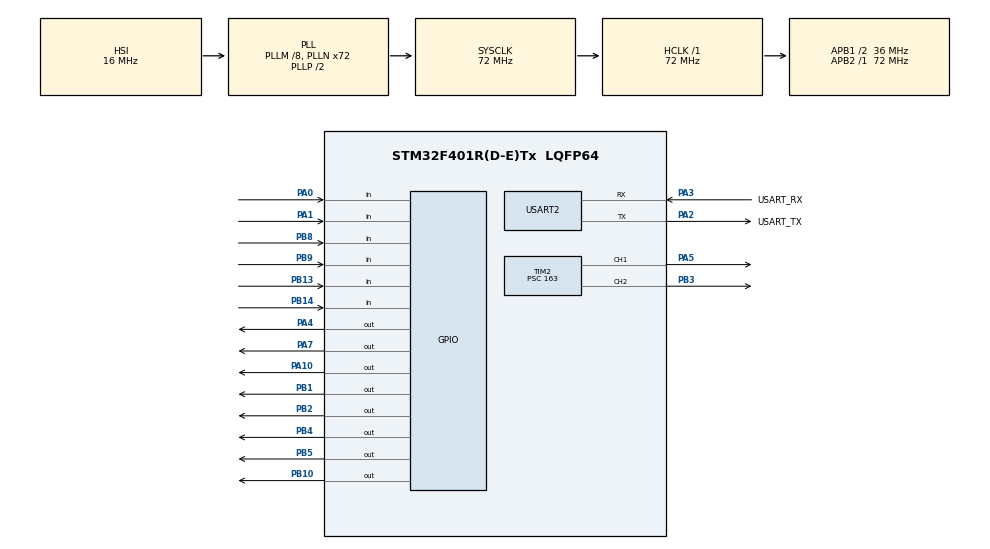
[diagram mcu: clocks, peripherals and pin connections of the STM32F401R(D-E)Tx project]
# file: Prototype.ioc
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Mcu.Family=STM32F4
Mcu.Name=STM32F401R(D-E)Tx
Mcu.Package=LQFP64
NVIC.PriorityGroup=NVIC_PRIORITYGROUP_0
PA0-WKUP.Signal=GPIO_Input
PA1.Signal=GPIO_Input
PA10.Signal=GPIO_Output
PA13.Mode=Serial_Wire
PA13.Signal=SYS_JTMS-SWDIO
PA14.Mode=Serial_Wire
PA14.Signal=SYS_JTCK-SWCLK
PA2.GPIO_Label=USART_TX
PA2.GPIO_Mode=GPIO_MODE_AF_PP
PA2.GPIO_PuPd=GPIO_NOPULL
PA2.GPIO_Speed=GPIO_SPEED_FREQ_LOW
PA2.Mode=Asynchronous
PA2.Signal=USART2_TX
PA3.GPIO_Label=USART_RX
PA3.GPIO_Mode=GPIO_MODE_AF_PP
PA3.GPIO_PuPd=GPIO_NOPULL
PA3.GPIO_Speed=GPIO_SPEED_FREQ_LOW
PA3.Mode=Asynchronous
PA3.Signal=USART2_RX
PA4.Signal=GPIO_Output
PA5.Signal=S_TIM2_CH1_ETR
PA7.Signal=GPIO_Output
PB1.Signal=GPIO_Output
PB10.Signal=GPIO_Output
PB13.GPIO_PuPd=GPIO_PULLDOWN
PB13.Signal=GPIO_Input
PB14.GPIO_PuPd=GPIO_PULLDOWN
PB14.Signal=GPIO_Input
PB2.Signal=GPIO_Output
PB3.Signal=S_TIM2_CH2
PB4.Signal=GPIO_Output
PB5.Signal=GPIO_Output
PB8.Signal=GPIO_Input
PB9.Signal=GPIO_Input
PH0\ -\ OSC_IN.Mode=HSE-External-Oscillator
PH0\ -\ OSC_IN.Signal=RCC_OSC_IN
PH1\ -\ OSC_OUT.Mode=HSE-External-Oscillator
PH1\ -\ OSC_OUT.Signal=RCC_OSC_OUT
ProjectManager.HeapSize=0x200
ProjectManager.StackSize=0x400
ProjectManager.TargetToolchain=STM32CubeIDE
RCC.48MHZClocksFreq_Value=20571428.57142857
RCC.AHBFreq_Value=72000000
RCC.APB1CLKDivider=RCC_HCLK_DIV2
RCC.APB1Freq_Value=36000000
RCC.APB1TimFreq_Value=72000000
RCC.APB2Freq_Value=72000000
RCC.APB2TimFreq_Value=72000000
RCC.CortexFreq_Value=72000000
RCC.HCLKFreq_Value=72000000
RCC.HSE_VALUE=8000000
RCC.HSI_VALUE=16000000
RCC.LSE_VALUE=32768
RCC.PLLM=8
RCC.PLLN=72
RCC.PLLQ=7
RCC.SYSCLKFreq_VALUE=72000000
RCC.SYSCLKSource=RCC_SYSCLKSOURCE_PLLCLK
RCC.VCOOutputFreq_Value=144000000
SH.S_TIM2_CH1_ETR.0=TIM2_CH1,PWM Generation1 CH1
SH.S_TIM2_CH2.0=TIM2_CH2,PWM Generation2 CH2
TIM1.Prescaler=71
TIM2.Channel-PWM\ Generation1\ CH1=TIM_CHANNEL_1
TIM2.Channel-PWM\ Generation2\ CH2=TIM_CHANNEL_2
TIM2.Period=9999
TIM2.Prescaler=163
USART2.VirtualMode=VM_ASYNC
VP_TIM1_VS_ClockSourceINT.Mode=Internal
VP_TIM2_VS_ClockSourceINT.Mode=Internal
board=NUCLEO-F401RE

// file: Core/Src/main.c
/* USER CODE BEGIN Header */
/**
  ******************************************************************************
  * @file           : main.c
  * @brief          : Main program body
  ******************************************************************************
  * @attention
  *
  * Copyright (c) 2022 STMicroelectronics.
  * All rights reserved.
  *
  * This software is licensed under terms that can be found in the LICENSE file
  * in the root directory of this software component.
  * If no LICENSE file comes with this software, it is provided AS-IS.
  *
  ******************************************************************************
  */
/* USER CODE END Header */
#include "main.h"

TIM_HandleTypeDef htim1;
TIM_HandleTypeDef htim2;

UART_HandleTypeDef huart2;

/* USER CODE BEGIN PV */
#define TRIG_PIN1 GPIO_PIN_10
#define TRIG_PORT1 GPIOB
#define ECHO_PIN1 GPIO_PIN_1
#define ECHO_PORT1 GPIOA

#define TRIG_PIN2 GPIO_PIN_4
#define TRIG_PORT2 GPIOB
#define ECHO_PIN2 GPIO_PIN_0
#define ECHO_PORT2 GPIOA

uint32_t pMillis1;
uint32_t Value11 = 0;
uint32_t Value21 = 0;
float Distance1  = 0;  // cm
char previous_Detected1 = 'f';
char current_Detected1 = 'f';
char servo1 = '0';

uint32_t pMillis2;
uint32_t Value12 = 0;
uint32_t Value22 = 0;
float Distance2  = 0;  // cm
char previous_Detected2 = 'f';
char current_Detected2 = 'f';
char servo2 = '0';

int button_input = 1;
int state = 0;
//int button_A = 1;
//int button_B = 0;

#define DHT11_PORT GPIOB
#define DHT11_PIN GPIO_PIN_8
uint8_t RHI11, RHD11, TCI11, TCD11, SUM11;
uint32_t pMillis11, cMillis11;
float tCelsius11 = 0;
float tFahrenheit11 = 0;
float RH11 = 0;

#define DHT22_PORT GPIOB
#define DHT22_PIN GPIO_PIN_9
uint8_t RH1, RH2, TC1, TC2, SUM22, CHECK22;
uint32_t pMillis22, cMillis22;
float tCelsius22 = 0;
float tFahrenheit22 = 0;
float RH22 = 0;

int x1;
/* USER CODE END PV */

void SystemClock_Config(void);
static void MX_GPIO_Init(void);
static void MX_USART2_UART_Init(void);
static void MX_TIM1_Init(void);
static void MX_TIM2_Init(void);

/* USER CODE BEGIN 0 */
//int y1=0;

void microDelay (uint16_t delay)
{
  __HAL_TIM_SET_COUNTER(&htim1, 0);
  while (__HAL_TIM_GET_COUNTER(&htim1) < delay);
}

uint8_t DHT11_Start (void)
{
  uint8_t Response = 0;
  GPIO_InitTypeDef GPIO_InitStructPrivate = {0};
  GPIO_InitStructPrivate.Pin = DHT11_PIN;
  GPIO_InitStructPrivate.Mode = GPIO_MODE_OUTPUT_PP;
  GPIO_InitStructPrivate.Speed = GPIO_SPEED_FREQ_LOW;
  GPIO_InitStructPrivate.Pull = GPIO_NOPULL;
  HAL_GPIO_Init(DHT11_PORT, &GPIO_InitStructPrivate); // set the pin as output
  HAL_GPIO_WritePin (DHT11_PORT, DHT11_PIN, 0);   // pull the pin low
  HAL_Delay(20);   // wait for 20ms
  HAL_GPIO_WritePin (DHT11_PORT, DHT11_PIN, 1);   // pull the pin high
  microDelay (30);   // wait for 30us
  GPIO_InitStructPrivate.Mode = GPIO_MODE_INPUT;
  GPIO_InitStructPrivate.Pull = GPIO_PULLUP;
  HAL_GPIO_Init(DHT11_PORT, &GPIO_InitStructPrivate); // set the pin as input
  microDelay (40);
  if (!(HAL_GPIO_ReadPin (DHT11_PORT, DHT11_PIN)))
  {
    microDelay (80);
    if ((HAL_GPIO_ReadPin (DHT11_PORT, DHT11_PIN))) Response = 1;
  }
  pMillis11 = HAL_GetTick();
  cMillis11 = HAL_GetTick();
  while ((HAL_GPIO_ReadPin (DHT11_PORT, DHT11_PIN)) && pMillis11 + 2 > cMillis11)
  {
    cMillis11 = HAL_GetTick();
  }
  return Response;
}

uint8_t DHT11_Read (void)
{
  uint8_t a,b;
  for (a=0;a<8;a++)
  {
    pMillis11 = HAL_GetTick();
    cMillis11 = HAL_GetTick();
    while (!(HAL_GPIO_ReadPin (DHT11_PORT, DHT11_PIN)) && pMillis11 + 2 > cMillis11)
    {  // wait for the pin to go high
      cMillis11 = HAL_GetTick();
    }
    microDelay (40);   // wait for 40 us
    if (!(HAL_GPIO_ReadPin (DHT11_PORT, DHT11_PIN)))   // if the pin is low
      b&= ~(1<<(7-a));
    else
      b|= (1<<(7-a));
    pMillis11 = HAL_GetTick();
    cMillis11 = HAL_GetTick();
    while ((HAL_GPIO_ReadPin (DHT11_PORT, DHT11_PIN)) && pMillis11 + 2 > cMillis11)
    {  // wait for the pin to go low
      cMillis11 = HAL_GetTick();
    }
  }
  return b;
}

uint8_t DHT22_Start (void)
{
  uint8_t Response = 0;
  GPIO_InitTypeDef GPIO_InitStructPrivate = {0};
  GPIO_InitStructPrivate.Pin = DHT22_PIN;
  GPIO_InitStructPrivate.Mode = GPIO_MODE_OUTPUT_PP;
  GPIO_InitStructPrivate.Speed = GPIO_SPEED_FREQ_LOW;
  GPIO_InitStructPrivate.Pull = GPIO_NOPULL;
  HAL_GPIO_Init(DHT22_PORT, &GPIO_InitStructPrivate); // set the pin as output
  HAL_GPIO_WritePin (DHT22_PORT, DHT22_PIN, 0);   // pull the pin low
  microDelay (1300);   // wait for 1300us
  HAL_GPIO_WritePin (DHT22_PORT, DHT22_PIN, 1);   // pull the pin high
  microDelay (30);   // wait for 30us
  GPIO_InitStructPrivate.Mode = GPIO_MODE_INPUT;
  GPIO_InitStructPrivate.Pull = GPIO_PULLUP;
  HAL_GPIO_Init(DHT22_PORT, &GPIO_InitStructPrivate); // set the pin as input
  microDelay (40);
  if (!(HAL_GPIO_ReadPin (DHT22_PORT, DHT22_PIN)))
  {
    microDelay (80);
    if ((HAL_GPIO_ReadPin (DHT22_PORT, DHT22_PIN))) Response = 1;
  }
  pMillis22 = HAL_GetTick();
  cMillis22 = HAL_GetTick();
  while ((HAL_GPIO_ReadPin (DHT22_PORT, DHT22_PIN)) && pMillis22 + 2 > cMillis22)
  {
    cMillis22 = HAL_GetTick();
  }
  return Response;
}

uint8_t DHT22_Read (void)
{
  uint8_t a,b;
  for (a=0;a<8;a++)
  {
    pMillis22 = HAL_GetTick();
    cMillis22 = HAL_GetTick();
    while (!(HAL_GPIO_ReadPin (DHT22_PORT, DHT22_PIN)) && pMillis22 + 2 > cMillis22)
    {  // wait for the pin to go high
      cMillis22 = HAL_GetTick();
    }
    microDelay (40);   // wait for 40 us
    if (!(HAL_GPIO_ReadPin (DHT22_PORT, DHT22_PIN)))   // if the pin is low
      b&= ~(1<<(7-a));
    else
      b|= (1<<(7-a));
    pMillis22 = HAL_GetTick();
    cMillis22 = HAL_GetTick();
    while ((HAL_GPIO_ReadPin (DHT22_PORT, DHT22_PIN)) && pMillis22 + 2 > cMillis22)
    {  // wait for the pin to go low
      cMillis22 = HAL_GetTick();
    }
  }
  return b;
}
/* USER CODE END 0 */

int main(void)
{

  /* MCU Configuration--------------------------------------------------------*/

  /* Reset of all peripherals, Initializes the Flash interface and the Systick. */
  HAL_Init();

  /* USER CODE BEGIN Init */
  int switch1 = 0;
  int switch2 = 0;

  /* USER CODE END Init */

  /* Configure the system clock */
  SystemClock_Config();

  /* Initialize all configured peripherals */
  MX_GPIO_Init();
  MX_USART2_UART_Init();
  MX_TIM1_Init();
  MX_TIM2_Init();
  /* USER CODE BEGIN 2 */
  HAL_TIM_Base_Start(&htim1);
  HAL_GPIO_WritePin(TRIG_PORT1, TRIG_PIN1, GPIO_PIN_RESET);  // pull the TRIG pin low
  HAL_GPIO_WritePin(TRIG_PORT2, TRIG_PIN2, GPIO_PIN_RESET);  // pull the TRIG pin low
  HAL_TIM_PWM_Start(&htim2, TIM_CHANNEL_1);
  HAL_TIM_PWM_Start(&htim2, TIM_CHANNEL_2);
  /* USER CODE END 2 */

  /* Infinite loop */
  /* USER CODE BEGIN WHILE */
  while (1)
  {
	  //Humidity sensor
	  if(DHT11_Start()) {
		  RHI11 = DHT11_Read(); // Relative humidity integral
	  	  RHD11 = DHT11_Read(); // Relative humidity decimal
	  	  TCI11 = DHT11_Read(); // Celsius integral
	  	  TCD11 = DHT11_Read(); // Celsius decimal
	  	  SUM11 = DHT11_Read(); // Check sum
	  	  if (RHI11 + RHD11 + TCI11 + TCD11 == SUM11) {
	  		  // Can use RHI and TCI for any purposes if whole number only needed
	  	      tCelsius11 = (float)TCI11 + (float)(TCD11/10.0);
	  	      tFahrenheit11 = tCelsius11 * 9/5 + 32;
	  	      RH11 = (float)RHI11 + (float)(RHD11/10.0);
	  	      // Can use tCelsius, tFahrenheit and RH for any purposes
	  	  }
	  }

	  HAL_Delay(1000);

	  if(DHT22_Start())
	      {
	        RH1 = DHT22_Read(); // First 8bits of humidity
	        RH2 = DHT22_Read(); // Second 8bits of Relative humidity
	        TC1 = DHT22_Read(); // First 8bits of Celsius
	        TC2 = DHT22_Read(); // Second 8bits of Celsius
	        SUM22 = DHT22_Read(); // Check sum
	        CHECK22 = RH1 + RH2 + TC1 + TC2;
	        if (CHECK22 == SUM22)
	        {
	          if (TC1>127) // If TC1=10000000, negative temperature
	          {
	            tCelsius22 = (float)TC2/10*(-1);
	          }
	          else
	          {
	            tCelsius22 = (float)((TC1<<8)|TC2)/10;
	          }
	          tFahrenheit22 = tCelsius22 * 9/5 + 32;
	          RH22 = (float) ((RH1<<8)|RH2)/10;
	        }
	      }
	      HAL_Delay(1000);

	  //switch, stepper motor, ultrasonic sensor, servo motor
	  switch1 = HAL_GPIO_ReadPin(GPIOB, GPIO_PIN_13);
	  HAL_Delay(10);
	  if (switch1 == 1){

		  //LED1 start here
		  HAL_GPIO_WritePin(GPIOB, GPIO_PIN_1, GPIO_PIN_SET);
		  HAL_Delay(1);

		  //Stepper1 start here
		  for(int i = 0; i<3200; i++){
			  HAL_GPIO_WritePin(GPIOA, GPIO_PIN_10, GPIO_PIN_SET);
			  for(int j=0;j<100;j++);
			  HAL_GPIO_WritePin(GPIOA, GPIO_PIN_10, GPIO_PIN_RESET);
			  HAL_Delay(1);
		  }
		  HAL_Delay(1000);

		  while (current_Detected1 == 'f') {
		  //ultrasonic1 start here
			  HAL_GPIO_WritePin(TRIG_PORT1, TRIG_PIN1, GPIO_PIN_SET);  // pull the TRIG pin HIGH
			  __HAL_TIM_SET_COUNTER(&htim1, 0);
			  while (__HAL_TIM_GET_COUNTER (&htim1) < 10);  // wait for 10 us
			  HAL_GPIO_WritePin(TRIG_PORT1, TRIG_PIN1, GPIO_PIN_RESET);  // pull the TRIG pin low

			  pMillis1 = HAL_GetTick(); // used this to avoid infinite while loop  (for timeout)
			  // wait for the echo pin to go high
			  while (!(HAL_GPIO_ReadPin (ECHO_PORT1, ECHO_PIN1)) && pMillis1 + 10 >  HAL_GetTick());
			  Value11 = __HAL_TIM_GET_COUNTER (&htim1);

			  pMillis1 = HAL_GetTick(); // used this to avoid infinite while loop (for timeout)
			  // wait for the echo pin to go low
			  while ((HAL_GPIO_ReadPin (ECHO_PORT1, ECHO_PIN1)) && pMillis1 + 50 > HAL_GetTick());
			  Value21 = __HAL_TIM_GET_COUNTER (&htim1);

			  Distance1 = (Value21-Value11)* 0.034/2*1.65;
			  HAL_Delay(50);
			  if (Distance1<=10 && Distance1 > 3){
				  current_Detected1 = 't';
			  } else {
				  current_Detected1 = 'f';
			  }
		  }

		  //servo1 start here
		  while (current_Detected1 == 't') {
			  htim2.Instance->CCR1 = 875;
			  HAL_Delay(2000);
			  //check ultrasonic1
			  HAL_GPIO_WritePin(TRIG_PORT1, TRIG_PIN1, GPIO_PIN_SET);  // pull the TRIG pin HIGH
			  __HAL_TIM_SET_COUNTER(&htim1, 0);
			  while (__HAL_TIM_GET_COUNTER (&htim1) < 10);  // wait for 10 us
			  HAL_GPIO_WritePin(TRIG_PORT1, TRIG_PIN1, GPIO_PIN_RESET);  // pull the TRIG pin low

			  pMillis1 = HAL_GetTick(); // used this to avoid infinite while loop  (for timeout)
			  // wait for the echo pin to go high
			  while (!(HAL_GPIO_ReadPin (ECHO_PORT1, ECHO_PIN1)) && pMillis1 + 10 >  HAL_GetTick());
			  Value11 = __HAL_TIM_GET_COUNTER (&htim1);

			  pMillis1 = HAL_GetTick(); // used this to avoid infinite while loop (for timeout)
			  // wait for the echo pin to go low
			  while ((HAL_GPIO_ReadPin (ECHO_PORT1, ECHO_PIN1)) && pMillis1 + 50 > HAL_GetTick());
			  Value21 = __HAL_TIM_GET_COUNTER (&htim1);

			  Distance1 = (Value21-Value11)* 0.034/2*1.65;
			  HAL_Delay(50);

			  if (Distance1<=10 && Distance1 > 3){
			      current_Detected1 = 't';
			  } else {
			  	  current_Detected1 = 'f';
			  }

		  }
		  htim2.Instance->CCR1 = 500;
		  HAL_Delay(50);

		  //reset LED1
		  HAL_GPIO_WritePin(GPIOB, GPIO_PIN_1, GPIO_PIN_RESET);

//		  if (previous_Detected1 == 't' && current_Detected1 == 'f'){
//		  	  servo1 = '0';
//		  	  previous_Detected1 = 'f';
//
//		  }
//		  else {
//			  if (current_Detected1 == 't'){
//				  servo1 = '1';
//			//		  y1+=1;
//				  }
//
//		  	  }

//		  previous_Detected1 = current_Detected1;

	  }

	  switch2 = HAL_GPIO_ReadPin(GPIOB, GPIO_PIN_14);
	  HAL_Delay(10);
	  if (switch2 == 1) {

		  //LED2 start here
		  HAL_GPIO_WritePin(GPIOB, GPIO_PIN_2, GPIO_PIN_SET);
		  HAL_Delay(1);

		  //stepper2 start here
		  for(int i = 0; i<3200; i++){
		      HAL_GPIO_WritePin(GPIOB, GPIO_PIN_5, GPIO_PIN_SET);
		 	  for(int j=0;j<100;j++);
		 	  HAL_GPIO_WritePin(GPIOB, GPIO_PIN_5, GPIO_PIN_RESET);
		 	  HAL_Delay(1);
		  }
		  HAL_Delay(1000);

		  while(current_Detected2 == 'f'){
			  //ultrasonic 2 start here
			  HAL_GPIO_WritePin(TRIG_PORT2, TRIG_PIN2, GPIO_PIN_SET);  // pull the TRIG pin HIGH
			  __HAL_TIM_SET_COUNTER(&htim1, 0);
			  while (__HAL_TIM_GET_COUNTER (&htim1) < 10);  // wait for 10 us
			  HAL_GPIO_WritePin(TRIG_PORT2, TRIG_PIN2, GPIO_PIN_RESET);  // pull the TRIG pin low

			  pMillis2 = HAL_GetTick(); // used this to avoid infinite while loop  (for timeout)
			  // wait for the echo pin to go high
			  while (!(HAL_GPIO_ReadPin (ECHO_PORT2, ECHO_PIN2)) && pMillis2 + 10 >  HAL_GetTick());
			  Value12 = __HAL_TIM_GET_COUNTER (&htim1);

			  pMillis2 = HAL_GetTick(); // used this to avoid infinite while loop (for timeout)
			  // wait for the echo pin to go low
			  while ((HAL_GPIO_ReadPin (ECHO_PORT2, ECHO_PIN2)) && pMillis2 + 50 > HAL_GetTick());
			  Value22 = __HAL_TIM_GET_COUNTER (&htim1);

			  Distance2 = (Value22-Value12)* 0.034/2*1.65;
			  HAL_Delay(50);
			  if (Distance2<=10 && Distance2 > 3){
				  current_Detected2 = 't';
			  } else {
				  current_Detected2 = 'f';
			  }
		  }

		  //servo2 start here
		  while (current_Detected2 == 't') {
			  htim2.Instance->CCR2 = 875;
			  HAL_Delay(2000);
			  //check ultrasonic2
			  HAL_GPIO_WritePin(TRIG_PORT2, TRIG_PIN2, GPIO_PIN_SET);  // pull the TRIG pin HIGH
			  __HAL_TIM_SET_COUNTER(&htim1, 0);
			  while (__HAL_TIM_GET_COUNTER (&htim1) < 10);  // wait for 10 us
			  HAL_GPIO_WritePin(TRIG_PORT2, TRIG_PIN2, GPIO_PIN_RESET);  // pull the TRIG pin low

			  pMillis2 = HAL_GetTick(); // used this to avoid infinite while loop  (for timeout)
			  // wait for the echo pin to go high
			  while (!(HAL_GPIO_ReadPin (ECHO_PORT2, ECHO_PIN2)) && pMillis2 + 10 >  HAL_GetTick());
			  Value12 = __HAL_TIM_GET_COUNTER (&htim1);

			  pMillis2 = HAL_GetTick(); // used this to avoid infinite while loop (for timeout)
			  // wait for the echo pin to go low
			  while ((HAL_GPIO_ReadPin (ECHO_PORT2, ECHO_PIN2)) && pMillis2 + 50 > HAL_GetTick());
			  Value22 = __HAL_TIM_GET_COUNTER (&htim1);

			  Distance2 = (Value22-Value12)* 0.034/2*1.65;
			  HAL_Delay(50);

			  if (Distance2<=10 && Distance2 > 3){
		 		  current_Detected2 = 't';
		 	  } else {
		 		  current_Detected2 = 'f';
		 		}

		  }
		  htim2.Instance->CCR2 = 500;
		  HAL_Delay(500);

		  //reset LED2
		  HAL_GPIO_WritePin(GPIOB, GPIO_PIN_2, GPIO_PIN_RESET);

	  }
    /* USER CODE END WHILE */

  }
}

void SystemClock_Config(void)
{
  RCC_OscInitTypeDef RCC_OscInitStruct = {0};
  RCC_ClkInitTypeDef RCC_ClkInitStruct = {0};

  /** Configure the main internal regulator output voltage
  */
  __HAL_RCC_PWR_CLK_ENABLE();
  __HAL_PWR_VOLTAGESCALING_CONFIG(PWR_REGULATOR_VOLTAGE_SCALE2);

  /** Initializes the RCC Oscillators according to the specified parameters
  * in the RCC_OscInitTypeDef structure.
  */
  RCC_OscInitStruct.OscillatorType = RCC_OSCILLATORTYPE_HSI;
  RCC_OscInitStruct.HSIState = RCC_HSI_ON;
  RCC_OscInitStruct.HSICalibrationValue = RCC_HSICALIBRATION_DEFAULT;
  RCC_OscInitStruct.PLL.PLLState = RCC_PLL_ON;
  RCC_OscInitStruct.PLL.PLLSource = RCC_PLLSOURCE_HSI;
  RCC_OscInitStruct.PLL.PLLM = 8;
  RCC_OscInitStruct.PLL.PLLN = 72;
  RCC_OscInitStruct.PLL.PLLP = RCC_PLLP_DIV2;
  RCC_OscInitStruct.PLL.PLLQ = 7;
  if (HAL_RCC_OscConfig(&RCC_OscInitStruct) != HAL_OK)
  {
    Error_Handler();
  }

  /** Initializes the CPU, AHB and APB buses clocks
  */
  RCC_ClkInitStruct.ClockType = RCC_CLOCKTYPE_HCLK|RCC_CLOCKTYPE_SYSCLK
                              |RCC_CLOCKTYPE_PCLK1|RCC_CLOCKTYPE_PCLK2;
  RCC_ClkInitStruct.SYSCLKSource = RCC_SYSCLKSOURCE_PLLCLK;
  RCC_ClkInitStruct.AHBCLKDivider = RCC_SYSCLK_DIV1;
  RCC_ClkInitStruct.APB1CLKDivider = RCC_HCLK_DIV2;
  RCC_ClkInitStruct.APB2CLKDivider = RCC_HCLK_DIV1;

  if (HAL_RCC_ClockConfig(&RCC_ClkInitStruct, FLASH_LATENCY_2) != HAL_OK)
  {
    Error_Handler();
  }
}

static void MX_TIM1_Init(void)
{

  TIM_ClockConfigTypeDef sClockSourceConfig = {0};
  TIM_MasterConfigTypeDef sMasterConfig = {0};

  htim1.Instance = TIM1;
  htim1.Init.Prescaler = 71;
  htim1.Init.CounterMode = TIM_COUNTERMODE_UP;
  htim1.Init.Period = 65535;
  htim1.Init.ClockDivision = TIM_CLOCKDIVISION_DIV1;
  htim1.Init.RepetitionCounter = 0;
  htim1.Init.AutoReloadPreload = TIM_AUTORELOAD_PRELOAD_DISABLE;
  if (HAL_TIM_Base_Init(&htim1) != HAL_OK)
  {
    Error_Handler();
  }
  sClockSourceConfig.ClockSource = TIM_CLOCKSOURCE_INTERNAL;
  if (HAL_TIM_ConfigClockSource(&htim1, &sClockSourceConfig) != HAL_OK)
  {
    Error_Handler();
  }
  sMasterConfig.MasterOutputTrigger = TIM_TRGO_RESET;
  sMasterConfig.MasterSlaveMode = TIM_MASTERSLAVEMODE_DISABLE;
  if (HAL_TIMEx_MasterConfigSynchronization(&htim1, &sMasterConfig) != HAL_OK)
  {
    Error_Handler();
  }

}

static void MX_TIM2_Init(void)
{

  TIM_ClockConfigTypeDef sClockSourceConfig = {0};
  TIM_MasterConfigTypeDef sMasterConfig = {0};
  TIM_OC_InitTypeDef sConfigOC = {0};

  htim2.Instance = TIM2;
  htim2.Init.Prescaler = 163;
  htim2.Init.CounterMode = TIM_COUNTERMODE_UP;
  htim2.Init.Period = 9999;
  htim2.Init.ClockDivision = TIM_CLOCKDIVISION_DIV1;
  htim2.Init.AutoReloadPreload = TIM_AUTORELOAD_PRELOAD_DISABLE;
  if (HAL_TIM_Base_Init(&htim2) != HAL_OK)
  {
    Error_Handler();
  }
  sClockSourceConfig.ClockSource = TIM_CLOCKSOURCE_INTERNAL;
  if (HAL_TIM_ConfigClockSource(&htim2, &sClockSourceConfig) != HAL_OK)
  {
    Error_Handler();
  }
  if (HAL_TIM_PWM_Init(&htim2) != HAL_OK)
  {
    Error_Handler();
  }
  sMasterConfig.MasterOutputTrigger = TIM_TRGO_RESET;
  sMasterConfig.MasterSlaveMode = TIM_MASTERSLAVEMODE_DISABLE;
  if (HAL_TIMEx_MasterConfigSynchronization(&htim2, &sMasterConfig) != HAL_OK)
  {
    Error_Handler();
  }
  sConfigOC.OCMode = TIM_OCMODE_PWM1;
  sConfigOC.Pulse = 0;
  sConfigOC.OCPolarity = TIM_OCPOLARITY_HIGH;
  sConfigOC.OCFastMode = TIM_OCFAST_DISABLE;
  if (HAL_TIM_PWM_ConfigChannel(&htim2, &sConfigOC, TIM_CHANNEL_1) != HAL_OK)
  {
    Error_Handler();
  }
  if (HAL_TIM_PWM_ConfigChannel(&htim2, &sConfigOC, TIM_CHANNEL_2) != HAL_OK)
  {
    Error_Handler();
  }
  HAL_TIM_MspPostInit(&htim2);

}

static void MX_USART2_UART_Init(void)
{

  huart2.Instance = USART2;
  huart2.Init.BaudRate = 115200;
  huart2.Init.WordLength = UART_WORDLENGTH_8B;
  huart2.Init.StopBits = UART_STOPBITS_1;
  huart2.Init.Parity = UART_PARITY_NONE;
  huart2.Init.Mode = UART_MODE_TX_RX;
  huart2.Init.HwFlowCtl = UART_HWCONTROL_NONE;
  huart2.Init.OverSampling = UART_OVERSAMPLING_16;
  if (HAL_UART_Init(&huart2) != HAL_OK)
  {
    Error_Handler();
  }

}

static void MX_GPIO_Init(void)
{
  GPIO_InitTypeDef GPIO_InitStruct = {0};

  /* GPIO Ports Clock Enable */
  __HAL_RCC_GPIOH_CLK_ENABLE();
  __HAL_RCC_GPIOA_CLK_ENABLE();
  __HAL_RCC_GPIOB_CLK_ENABLE();

  /*Configure GPIO pin Output Level */
  HAL_GPIO_WritePin(GPIOA, GPIO_PIN_4|GPIO_PIN_7|GPIO_PIN_10, GPIO_PIN_RESET);

  /*Configure GPIO pin Output Level */
  HAL_GPIO_WritePin(GPIOB, GPIO_PIN_1|GPIO_PIN_2|GPIO_PIN_10|GPIO_PIN_4
                          |GPIO_PIN_5, GPIO_PIN_RESET);

  /*Configure GPIO pins : PA0 PA1 */
  GPIO_InitStruct.Pin = GPIO_PIN_0|GPIO_PIN_1;
  GPIO_InitStruct.Mode = GPIO_MODE_INPUT;
  GPIO_InitStruct.Pull = GPIO_NOPULL;
  HAL_GPIO_Init(GPIOA, &GPIO_InitStruct);

  /*Configure GPIO pins : PA4 PA7 PA10 */
  GPIO_InitStruct.Pin = GPIO_PIN_4|GPIO_PIN_7|GPIO_PIN_10;
  GPIO_InitStruct.Mode = GPIO_MODE_OUTPUT_PP;
  GPIO_InitStruct.Pull = GPIO_NOPULL;
  GPIO_InitStruct.Speed = GPIO_SPEED_FREQ_LOW;
  HAL_GPIO_Init(GPIOA, &GPIO_InitStruct);

  /*Configure GPIO pins : PB1 PB2 PB10 PB4
                           PB5 */
  GPIO_InitStruct.Pin = GPIO_PIN_1|GPIO_PIN_2|GPIO_PIN_10|GPIO_PIN_4
                          |GPIO_PIN_5;
  GPIO_InitStruct.Mode = GPIO_MODE_OUTPUT_PP;
  GPIO_InitStruct.Pull = GPIO_NOPULL;
  GPIO_InitStruct.Speed = GPIO_SPEED_FREQ_LOW;
  HAL_GPIO_Init(GPIOB, &GPIO_InitStruct);

  /*Configure GPIO pins : PB13 PB14 */
  GPIO_InitStruct.Pin = GPIO_PIN_13|GPIO_PIN_14;
  GPIO_InitStruct.Mode = GPIO_MODE_INPUT;
  GPIO_InitStruct.Pull = GPIO_PULLDOWN;
  HAL_GPIO_Init(GPIOB, &GPIO_InitStruct);

  /*Configure GPIO pins : PB8 PB9 */
  GPIO_InitStruct.Pin = GPIO_PIN_8|GPIO_PIN_9;
  GPIO_InitStruct.Mode = GPIO_MODE_INPUT;
  GPIO_InitStruct.Pull = GPIO_NOPULL;
  HAL_GPIO_Init(GPIOB, &GPIO_InitStruct);

}

void Error_Handler(void)
{
  __disable_irq();
  while (1)
  {
  }
}
